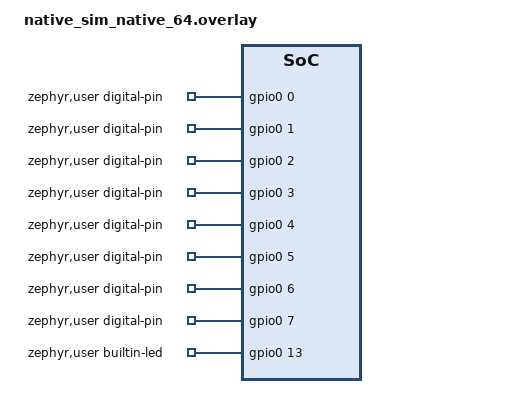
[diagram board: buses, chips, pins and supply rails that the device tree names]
/*
 * Copyright (c) Arduino s.r.l. and/or its affiliated companies
 *
 * SPDX-License-Identifier: Apache-2.0
 */

/* CI/dev only target: pins are lines of the emulated GPIO port. */
/ {
	zephyr,user {
		digital-pin-gpios = <&gpio0 0 0>,
				    <&gpio0 1 0>,
				    <&gpio0 2 0>,
				    <&gpio0 3 0>,
				    <&gpio0 4 0>,
				    <&gpio0 5 0>,
				    <&gpio0 6 0>,
				    <&gpio0 7 0>,
				    <&gpio0 8 0>,
				    <&gpio0 9 0>,
				    <&gpio0 10 0>,
				    <&gpio0 11 0>,
				    <&gpio0 12 0>,
				    <&gpio0 13 0>;

		builtin-led-gpios = <&gpio0 13 0>;

		serials = <&uart0>;
	};
};

&uart0 {
	on-stdinout;
};
